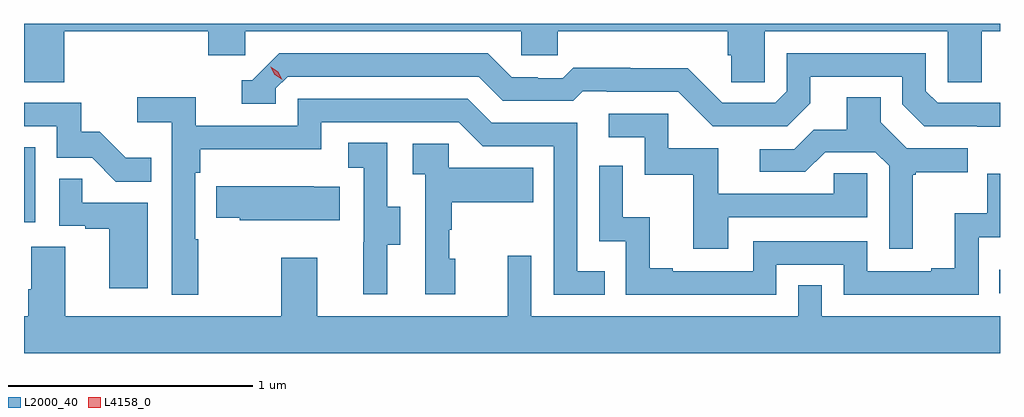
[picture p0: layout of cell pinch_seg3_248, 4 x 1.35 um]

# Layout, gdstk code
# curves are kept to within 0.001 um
import gdstk
lib = gdstk.Library(unit=1e-6, precision=1e-09)
def R(c, l, rs):  # rectangles x0, y0, x1, y1
    for r in rs: c.add(gdstk.rectangle(r[:2], r[2:], *l))
def P(c, l, *ps):  # polygons
    for p in ps: c.add(gdstk.Polygon(p, *l))
L2000_40 = (2000, 40)
L4158_0 = (4158, 0)

pinch_seg3_248 = lib.new_cell('pinch_seg3_248')
R(pinch_seg3_248, L2000_40, [(901.147,747.795,901.15,747.892), (897.15,748.086,897.196,748.393)])
P(pinch_seg3_248, L2000_40, [(897.314,748.868),(897.905,748.868),(897.905,748.77),(898.056,748.77),(898.056,748.868),(899.187,748.868),(899.187,748.77),(899.337,748.77),(899.337,748.868),(900.035,748.868),(900.035,748.77),(900.049,748.77),(900.049,748.66),(900.186,748.66),(900.186,748.868),(900.936,748.868),(900.936,748.66),(901.075,748.66),(901.075,748.868),(901.15,748.868),(901.15,748.9),(897.15,748.9),(897.15,748.66),(897.314,748.66)],
  [(901.15,748.575),(900.894,748.575),(900.846,748.623),(900.846,748.779),(900.276,748.779),(900.276,748.623),(900.228,748.575),(900.012,748.575),(899.87,748.717),(899.634,748.717),(899.634,748.72),(899.401,748.72),(899.359,748.677),(899.256,748.677),(899.256,748.68),(899.149,748.68),(899.05,748.779),(898.197,748.779),(898.086,748.668),(898.043,748.668),(898.043,748.572),(898.182,748.572),(898.182,748.635),(898.23,748.683),(899.013,748.683),(899.112,748.584),(899.401,748.584),(899.44,748.623),(899.539,748.623),(899.539,748.62),(899.832,748.62),(899.973,748.479),(900.279,748.479),(900.373,748.573),(900.373,748.683),(900.75,748.683),(900.75,748.569),(900.84,748.479),(901.15,748.478)],
  [(897.865,748.016),(897.852,748.016),(897.852,748.289),(897.872,748.289),(897.872,748.385),(898.368,748.385),(898.368,748.497),(898.932,748.497),(899.031,748.398),(899.322,748.398),(899.322,747.789),(899.531,747.789),(899.531,747.885),(899.418,747.885),(899.418,748.494),(899.068,748.494),(898.969,748.593),(898.272,748.593),(898.272,748.482),(897.854,748.482),(897.854,748.598),(897.615,748.598),(897.615,748.496),(897.756,748.496),(897.756,747.789),(897.865,747.789)],
  [(900.793,748.281),(900.805,748.281),(900.805,748.292),(901.018,748.292),(901.018,748.389),(900.768,748.389),(900.661,748.496),(900.661,748.598),(900.521,748.598),(900.521,748.466),(900.386,748.466),(900.306,748.386),(900.165,748.386),(900.165,748.293),(900.352,748.293),(900.433,748.374),(900.639,748.374),(900.696,748.317),(900.696,747.978),(900.793,747.978)],
  [(897.671,748.351),(897.567,748.351),(897.46,748.458),(897.384,748.458),(897.384,748.575),(897.15,748.575),(897.15,748.479),(897.285,748.479),(897.285,748.35),(897.429,748.35),(897.527,748.252),(897.671,748.252)],
  [(900.037,748.107),(900.606,748.107),(900.606,748.287),(900.469,748.287),(900.469,748.203),(899.995,748.203),(899.995,748.389),(899.79,748.389),(899.79,748.53),(899.547,748.53),(899.547,748.434),(899.694,748.434),(899.694,748.281),(899.893,748.281),(899.893,747.978),(900.037,747.978)],
  [(898.639,747.994),(898.693,747.994),(898.693,748.149),(898.638,748.149),(898.638,748.412),(898.479,748.412),(898.479,748.309),(898.542,748.309),(898.542,748.005),(898.541,748.005),(898.541,747.792),(898.639,747.792)],
  [(898.918,747.936),(898.893,747.936),(898.893,748.055),(898.903,748.055),(898.903,748.169),(899.237,748.169),(899.237,748.309),(898.89,748.309),(898.89,748.407),(898.743,748.407),(898.743,748.283),(898.794,748.283),(898.794,747.792),(898.918,747.792)],
  [(900.234,747.912),(900.51,747.912),(900.51,747.789),(901.062,747.789),(901.062,748.025),(901.15,748.025),(901.15,748.284),(901.098,748.284),(901.098,748.123),(900.965,748.123),(900.965,747.898),(900.869,747.898),(900.869,747.885),(900.606,747.885),(900.606,748.008),(900.138,748.008),(900.138,747.885),(899.809,747.885),(899.809,747.898),(899.714,747.898),(899.714,748.106),(899.604,748.106),(899.604,748.318),(899.508,748.318),(899.508,748.008),(899.616,748.008),(899.616,747.789),(900.234,747.789)],
  [(897.658,748.167),(897.389,748.167),(897.389,748.265),(897.294,748.265),(897.294,748.071),(897.401,748.071),(897.401,748.059),(897.5,748.059),(897.5,747.816),(897.658,747.816)],
  [(898.445,748.231),(898.337,748.231),(898.337,748.234),(897.937,748.234),(897.937,748.105),(898.035,748.105),(898.035,748.094),(898.445,748.094)],
  [(901.15,747.7),(900.42,747.7),(900.42,747.827),(900.324,747.827),(900.324,747.7),(899.229,747.7),(899.229,747.949),(899.132,747.949),(899.132,747.7),(898.351,747.7),(898.351,747.94),(898.204,747.94),(898.204,747.7),(897.319,747.7),(897.319,747.986),(897.179,747.986),(897.179,747.812),(897.167,747.812),(897.167,747.7),(897.15,747.7),(897.15,747.549),(901.15,747.549)])
P(pinch_seg3_248, L4158_0, [(898.208,748.671),(898.177,748.69),(898.161,748.722),(898.161,748.723),(898.161,748.723),(898.192,748.703),(898.208,748.671),(898.208,748.671)])

lib.write_gds('pinch_seg3_248.gds')
